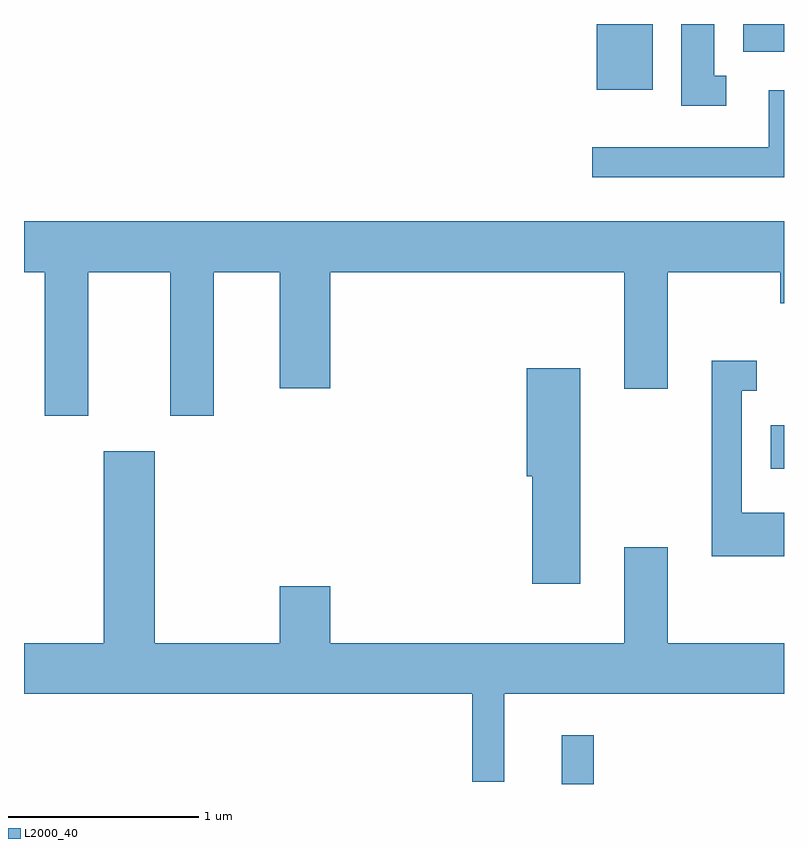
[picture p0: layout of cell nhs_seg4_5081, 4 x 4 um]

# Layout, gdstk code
import gdstk
lib = gdstk.Library(unit=1e-6, precision=1e-09)
def R(c, l, rs):  # rectangles x0, y0, x1, y1
    for r in rs: c.add(gdstk.rectangle(r[:2], r[2:], *l))
def P(c, l, *ps):  # polygons
    for p in ps: c.add(gdstk.Polygon(p, *l))
L2000_40 = (2000, 40)

nhs_seg4_5081 = lib.new_cell('nhs_seg4_5081')
R(nhs_seg4_5081, L2000_40, [(336.441,1351.982,336.609,1352.238), (337.541,1353.641,337.611,1353.869), (336.626,1355.636,336.919,1355.982), (337.396,1355.836,337.611,1355.982)])
P(nhs_seg4_5081, L2000_40, [(337.308,1355.709),(337.244,1355.709),(337.244,1355.982),(337.071,1355.982),(337.071,1355.551),(337.308,1355.551)],
  [(337.611,1355.634),(337.531,1355.634),(337.531,1355.334),(336.603,1355.334),(336.603,1355.176),(337.611,1355.176)],
  [(333.949,1354.676),(334.381,1354.676),(334.381,1353.921),(334.609,1353.921),(334.609,1354.676),(334.956,1354.676),(334.956,1354.066),(335.224,1354.066),(335.224,1354.676),(336.771,1354.676),(336.771,1354.061),(336.999,1354.061),(336.999,1354.676),(337.591,1354.676),(337.591,1354.511),(337.611,1354.511),(337.611,1354.944),(333.611,1354.944),(333.611,1354.676),(333.721,1354.676),(333.721,1353.921),(333.949,1353.921)],
  [(337.611,1353.409),(337.389,1353.409),(337.389,1354.051),(337.468,1354.051),(337.468,1354.209),(337.231,1354.209),(337.231,1353.181),(337.611,1353.181)],
  [(336.539,1354.169),(336.256,1354.169),(336.256,1353.601),(336.286,1353.601),(336.286,1353.036),(336.539,1353.036)],
  [(336.139,1352.456),(337.611,1352.456),(337.611,1352.724),(336.999,1352.724),(336.999,1353.229),(336.771,1353.229),(336.771,1352.724),(335.224,1352.724),(335.224,1353.024),(334.956,1353.024),(334.956,1352.724),(334.299,1352.724),(334.299,1353.734),(334.031,1353.734),(334.031,1352.724),(333.611,1352.724),(333.611,1352.456),(335.971,1352.456),(335.971,1351.993),(336.139,1351.993)])

lib.write_gds('nhs_seg4_5081.gds')
